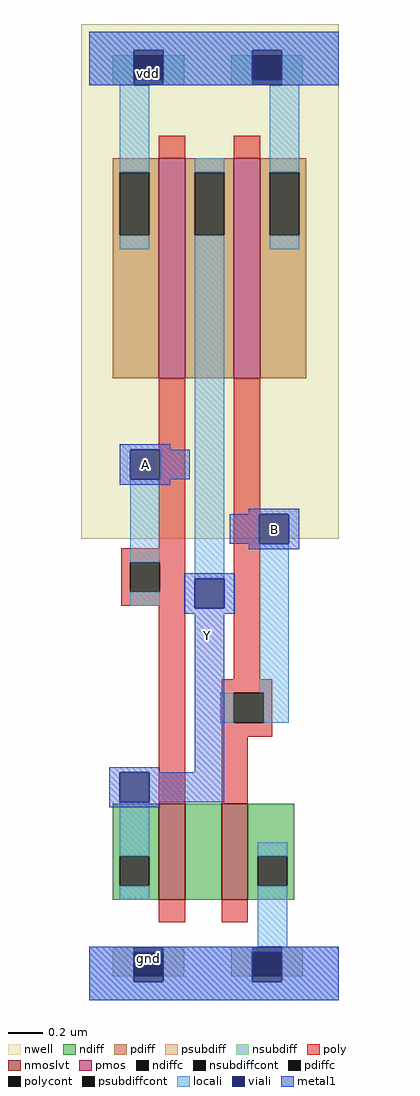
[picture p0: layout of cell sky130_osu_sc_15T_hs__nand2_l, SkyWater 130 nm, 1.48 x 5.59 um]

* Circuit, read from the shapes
.subckt sky130_osu_sc_15T_hs__nand2_l Y B A
XM1 n1 A Y gnd sky130_fd_pr__nfet_01v8_lvt w=0.55 l=0.15
XM2 gnd B n1 gnd sky130_fd_pr__nfet_01v8_lvt w=0.55 l=0.15
XM3 Y A vdd vdd sky130_fd_pr__pfet_01v8 w=1.26 l=0.15
XM4 vdd B Y vdd sky130_fd_pr__pfet_01v8 w=1.26 l=0.15
.ends

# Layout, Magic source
magic
tech sky130A
magscale 1 2
<< nwell >>
rect -9 529 286 1119
<< nmoslvt >>
rect 80 115 110 225
rect 152 115 182 225
<< pmos >>
rect 80 713 110 965
rect 166 713 196 965
<< ndiff >>
rect 27 165 80 225
rect 27 131 35 165
rect 69 131 80 165
rect 27 115 80 131
rect 110 115 152 225
rect 182 165 235 225
rect 182 131 193 165
rect 227 131 235 165
rect 182 115 235 131
<< pdiff >>
rect 27 949 80 965
rect 27 877 35 949
rect 69 877 80 949
rect 27 713 80 877
rect 110 949 166 965
rect 110 877 121 949
rect 155 877 166 949
rect 110 713 166 877
rect 196 949 249 965
rect 196 877 207 949
rect 241 877 249 949
rect 196 713 249 877
<< ndiffc >>
rect 35 131 69 165
rect 193 131 227 165
<< pdiffc >>
rect 35 877 69 949
rect 121 877 155 949
rect 207 877 241 949
<< psubdiff >>
rect 27 27 51 61
rect 85 27 109 61
rect 163 27 187 61
rect 221 27 245 61
<< nsubdiff >>
rect 27 1049 51 1083
rect 85 1049 109 1083
rect 163 1049 187 1083
rect 221 1049 245 1083
<< psubdiffcont >>
rect 51 27 85 61
rect 187 27 221 61
<< nsubdiffcont >>
rect 51 1049 85 1083
rect 187 1049 221 1083
<< poly >>
rect 80 965 110 991
rect 166 965 196 991
rect 80 518 110 713
rect 37 502 110 518
rect 37 468 47 502
rect 81 468 110 502
rect 37 452 110 468
rect 80 225 110 452
rect 166 368 196 713
rect 152 352 210 368
rect 152 318 166 352
rect 200 318 210 352
rect 152 302 210 318
rect 152 225 182 302
rect 80 89 110 115
rect 152 89 182 115
<< polycont >>
rect 47 468 81 502
rect 166 318 200 352
<< locali >>
rect 0 1089 286 1110
rect 0 1049 51 1089
rect 85 1049 187 1089
rect 221 1049 286 1089
rect 35 949 69 1049
rect 35 861 69 877
rect 121 949 155 965
rect 47 502 81 597
rect 47 452 81 468
rect 121 483 155 877
rect 207 949 241 1049
rect 207 861 241 877
rect 195 352 229 523
rect 150 318 166 352
rect 200 318 229 352
rect 35 165 69 227
rect 35 115 69 131
rect 193 165 227 181
rect 193 61 227 131
rect 0 21 51 61
rect 85 21 187 61
rect 221 21 286 61
rect 0 0 286 21
<< viali >>
rect 51 1083 85 1089
rect 51 1055 85 1083
rect 187 1083 221 1089
rect 187 1055 221 1083
rect 47 597 81 631
rect 121 449 155 483
rect 195 523 229 557
rect 35 227 69 261
rect 51 27 85 55
rect 51 21 85 27
rect 187 27 221 55
rect 187 21 221 27
<< metal1 >>
rect 0 1089 286 1110
rect 0 1055 51 1089
rect 85 1055 187 1089
rect 221 1055 286 1089
rect 0 1049 286 1055
rect 35 631 93 637
rect 35 597 47 631
rect 81 597 115 631
rect 35 591 93 597
rect 183 557 241 563
rect 161 523 195 557
rect 229 523 241 557
rect 183 517 241 523
rect 109 483 167 489
rect 109 449 121 483
rect 155 449 167 483
rect 109 443 167 449
rect 23 261 81 267
rect 121 261 155 443
rect 23 227 35 261
rect 69 227 155 261
rect 23 221 81 227
rect 0 55 286 61
rect 0 21 51 55
rect 85 21 187 55
rect 221 21 286 55
rect 0 0 286 21
<< labels >>
rlabel metal1 136 418 136 418 1 Y
port 1 n
rlabel viali 212 540 212 540 1 B
port 2 n
rlabel viali 64 614 64 614 1 A
port 3 n
rlabel viali 68 48 68 48 1 gnd
rlabel viali 68 1062 68 1062 1 vdd
<< end >>
